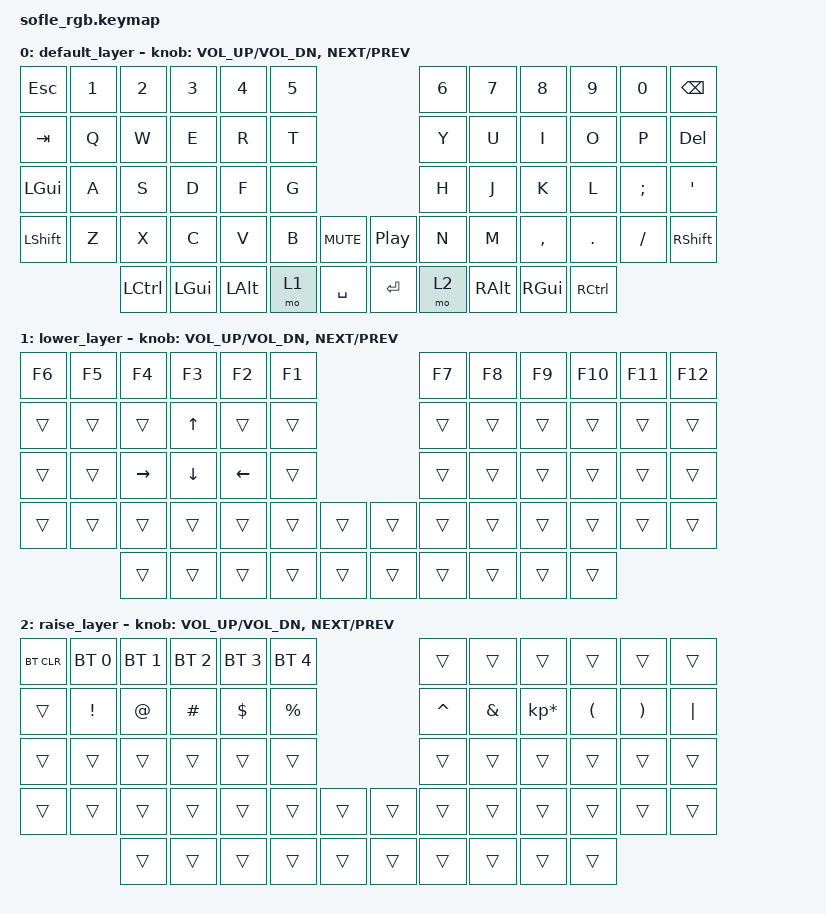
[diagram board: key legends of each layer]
#include <behaviors.dtsi>
#include <dt-bindings/zmk/keys.h>
#include <dt-bindings/zmk/bt.h>
#include <dt-bindings/zmk/outputs.h>

/ {
  keymap {
    compatible = "zmk,keymap";

        default_layer {
// ------------------------------------------------------------------------------------------------------------
// |  `    |  1  |  2  |  3   |  4   |  5   |                   |  6   |  7    |  8    |  9   |   0   |       |
// |  ESC  |  Q  |  W  |  E   |  R   |  T   |                   |  Y   |  U    |  I    |  O   |   P   | BKSPC |
// |  TAB  |  A  |  S  |  D   |  F   |  G   |                   |  H   |  J    |  K    |  L   |   ;   |   '   |
// | SHIFT |  Z  |  X  |  C   |  V   |  B   |  MUTE  |  |       |  N   |  M    |  ,    |  .   |   /   | SHIFT |
//               | GUI | ALT  | CTRL | LOWER|  SPACE |  | ENTER | RAISE| CTRL  | ALT   | GUI  |
            bindings = <
&kp ESC    &kp N1    &kp N2   &kp N3   &kp N4    &kp N5                         &kp N6      &kp N7  &kp N8    &kp N9    &kp N0   &kp BSPC
&kp TAB     &kp Q     &kp W    &kp E    &kp R     &kp T                         &kp Y       &kp U   &kp I     &kp O     &kp P    &kp DEL
&kp LGUI     &kp A     &kp S    &kp D    &kp F     &kp G                        &kp H       &kp J   &kp K     &kp L     &kp SEMI &kp SQT
&kp LSHFT &kp Z     &kp X    &kp C    &kp V     &kp B  &kp C_MUTE   &kp C_PLAY_PAUSE &kp N       &kp M   &kp COMMA  &kp DOT  &kp FSLH    &kp RSHFT
                    &kp LCTRL  &kp LGUI    &kp LALT  &mo 1   &kp SPACE            &kp RET   &mo 2   &kp RALT   &kp RGUI    &kp RCTRL
            >;

            sensor-bindings = <&inc_dec_kp C_VOL_UP C_VOL_DN &inc_dec_kp C_NEXT C_PREV>;
        };

        lower_layer {
// TODO: Some binds are waiting for shifted keycode support.
// ------------------------------------------------------------------------------------------------------------
// |       |  F1 |  F2 |  F3  |  F4  |  F5  |                   |  F6  |  F7   |  F8   |  F9  |  F10  |  F11  |
// | `     |   1 |   2 |   3  |   4  |   5  |                   |   6  |   7   |   8   |   9  |    0  |  F12  |
// |       |  !  |  @  |  #   |  $   |  %   |                   |  ^   |  &    |  *    |  (   |   )   |   |   |
// |       |  =  |  -  |  +   |  {   |  }   |        |  |       |  [   |  ]    |  ;    |  :   |   \   |       |
//               |     |      |      |      |        |  |       |      |       |       |      |
            bindings = <
&kp F6  &kp F5  &kp F4      &kp F3      &kp F2      &kp F1                              &kp F7      &kp F8      &kp F9      &kp F10     &kp F11     &kp F12
&trans  &trans  &trans      &kp UP      &trans      &trans                              &trans      &trans      &trans      &trans      &trans      &trans
&trans  &trans  &kp RIGHT   &kp DOWN    &kp LEFT    &trans                              &trans      &trans      &trans      &trans      &trans      &trans
&trans  &trans  &trans      &trans      &trans      &trans  &trans            &trans    &trans      &trans      &trans      &trans      &trans      &trans 
                &trans      &trans      &trans      &trans  &trans            &trans    &trans      &trans      &trans      &trans
            >;

            sensor-bindings = <&inc_dec_kp C_VOL_UP C_VOL_DN &inc_dec_kp C_NEXT C_PREV>;
        };

        raise_layer {
// ------------------------------------------------------------------------------------------------------------
// |BTCLR| BT1  | BT2  |  BT3  |  BT4  |  BT5 |                |      |      |       |      |       |       |
// |     | INS  | PSCR | GUI   |       |      |                | PGUP |      |   ^   |      |       |       |
// |     | ALT  | CTRL | SHIFT |       | CAPS |                | PGDN |   <- |   v   |  ->  |  DEL  | BKSPC |
// |     | UNDO | CUT  | COPY  | PASTE |      |      |  |      |      |      |       |      |       |       |
//              |      |       |       |      |      |  |      |      |      |       |      |
            bindings = <
&bt BT_CLR    &bt BT_SEL 0    &bt BT_SEL 1    &bt BT_SEL 2    &bt BT_SEL 3    &bt BT_SEL 4                          &trans      &trans    &trans            &trans      &trans      &trans
&trans       &kp EXCL        &kp AT        &kp HASH          &kp DLLR        &kp PRCNT                              &kp CARET   &kp AMPS  &kp KP_MULTIPLY   &kp LPAR    &kp RPAR    &kp PIPE
&trans          &trans          &trans          &trans          &trans          &trans                              &trans      &trans    &trans            &trans      &trans      &trans
&trans          &trans          &trans          &trans          &trans          &trans      &trans          &trans  &trans      &trans    &trans            &trans      &trans      &trans
                                &trans          &trans          &trans          &trans      &trans          &trans  &trans      &trans    &trans            &trans
            >;

            sensor-bindings = <&inc_dec_kp C_VOL_UP C_VOL_DN &inc_dec_kp C_NEXT C_PREV>;
        };
    };
};
